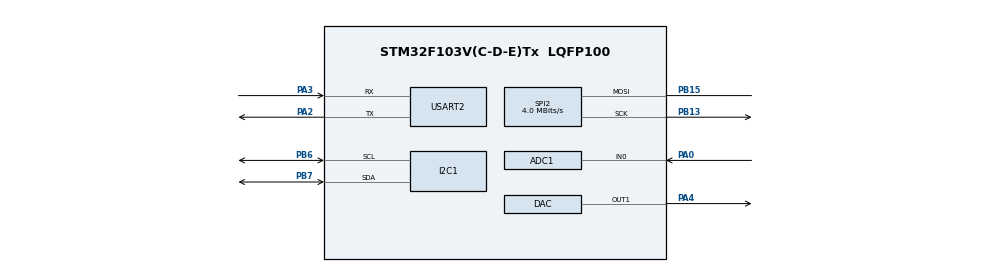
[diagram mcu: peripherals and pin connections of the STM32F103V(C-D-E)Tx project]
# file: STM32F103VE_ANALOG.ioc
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ADC1.Channel-0\#ChannelRegularConversion=ADC_CHANNEL_0
ADC1.NbrOfConversionFlag=1
ADC1.Rank-0\#ChannelRegularConversion=1
ADC1.SamplingTime-0\#ChannelRegularConversion=ADC_SAMPLETIME_1CYCLE_5
ADC1.master=1
Mcu.Family=STM32F1
Mcu.Name=STM32F103V(C-D-E)Tx
Mcu.Package=LQFP100
NVIC.I2C1_ER_IRQn=true\:0\:0\:false\:false\:true\:true\:true
NVIC.I2C1_EV_IRQn=true\:0\:0\:false\:false\:true\:true\:true
NVIC.PriorityGroup=NVIC_PRIORITYGROUP_4
NVIC.USART2_IRQn=true\:0\:0\:false\:false\:true\:true\:true
OSC_IN.Mode=HSE-External-Oscillator
OSC_IN.Signal=RCC_OSC_IN
OSC_OUT.Mode=HSE-External-Oscillator
OSC_OUT.Signal=RCC_OSC_OUT
PA0-WKUP.Signal=ADCx_IN0
PA13.Mode=Trace_Asynchronous_SW
PA13.Signal=SYS_JTMS-SWDIO
PA14.Mode=Trace_Asynchronous_SW
PA14.Signal=SYS_JTCK-SWCLK
PA2.Mode=Asynchronous
PA2.Signal=USART2_TX
PA3.Mode=Asynchronous
PA3.Signal=USART2_RX
PA4.Signal=COMP_DAC1_group
PB13.Mode=Simplex_Bidirectional_Master
PB13.Signal=SPI2_SCK
PB15.Mode=Simplex_Bidirectional_Master
PB15.Signal=SPI2_MOSI
PB3.Mode=Trace_Asynchronous_SW
PB3.Signal=SYS_JTDO-TRACESWO
PB6.Mode=I2C
PB6.Signal=I2C1_SCL
PB7.Mode=I2C
PB7.Signal=I2C1_SDA
ProjectManager.HeapSize=0x200
ProjectManager.StackSize=0x400
ProjectManager.TargetToolchain=TrueSTUDIO
RCC.APB1Freq_Value=8000000
RCC.APB2Freq_Value=8000000
SH.ADCx_IN0.0=ADC1_IN0,IN0
SH.COMP_DAC1_group.0=DAC_OUT1,DAC_OUT1
SPI2.CalculateBaudRate=4.0 MBits/s
SPI2.Direction=SPI_DIRECTION_1LINE
SPI2.Mode=SPI_MODE_MASTER
SPI2.VirtualType=VM_MASTER
USART2.VirtualMode=VM_ASYNC
board=custom

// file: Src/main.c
/* USER CODE BEGIN Header */
/**
  ******************************************************************************
  * @file           : main.c
  * @brief          : Main program body
  ******************************************************************************
  * @attention
  *
  * <h2><center>&copy; Copyright (c) 2020 STMicroelectronics.
  * All rights reserved.</center></h2>
  *
  * This software component is licensed by ST under BSD 3-Clause license,
  * the "License"; You may not use this file except in compliance with the
  * License. You may obtain a copy of the License at:
  *                        opensource.org/licenses/BSD-3-Clause
  *
  ******************************************************************************
  */
/* USER CODE END Header */

#include "main.h"

//ADC_HandleTypeDef hadc1;

I2C_HandleTypeDef hi2c1;

SPI_HandleTypeDef hspi2;

UART_HandleTypeDef huart2;

void SystemClock_Config(void);
static void MX_GPIO_Init(void);
static void MX_I2C1_Init(void);
static void MX_ADC1_Init(void);
static void MX_DAC_Init(void);
static void MX_SPI2_Init(void);
static void MX_USART2_UART_Init(void);

/* USER CODE BEGIN 0 */

//float LSB=3.3/(4096); //2^12  //double  //float

uint16_t delta=0;
/*
uint8_t ideal_DAC[34]={4096,3972,3848,3724,3600,3475,3351,3227,3103,2979,2855,2731,2607,2482,2358,
		               2234,2110,1986,1862,1738,1614,1489,1365,1241,1117,993,869,745,621,496,372,
					   248,124,0};
*/

uint8_t d=100;
/* USER CODE END 0 */

int main(void)
{

  /* MCU Configuration--------------------------------------------------------*/

  /* Reset of all peripherals, Initializes the Flash interface and the Systick. */
  HAL_Init();

  /* Configure the system clock */
  SystemClock_Config();

  /* Initialize all configured peripherals */
  MX_GPIO_Init();
  MX_I2C1_Init();
  MX_ADC1_Init();
  MX_DAC_Init();
  MX_SPI2_Init();
  MX_USART2_UART_Init();

  /* Infinite loop */
  /* USER CODE BEGIN WHILE */

  uint8_t str0[]="Test_0";
  uint8_t str1[]="Test\r\n";
  char string[10]={0};
  uint8_t addres=0;

    LCD1602 scr;
 	scr.hi2c = &hi2c1;
	scr.DevAddress = (0x27<< 1);   // 0x27  // //LED1

	TEST(&scr,str0,1);
/*
    printf("LSB=%.5f\n",LSB);  //
    moveXY(&scr,0,1);
    lsd_print(&scr,"LSB:");
    writeLCD_2D_float(&scr,LSB);
*/
  ////////////////////////////////////
    	    ad7780_dev ad=
    	    {
    	    .gpio_pdrst  = {GPIOD,3},
    	    .gpio_miso   = {GPIOD,2},
    	    .gpio_filter = {GPIOD,0},
    	    .gpio_gain   = {GPIOD,1},
    	    };
    	 ad7780_init_param td;

   // 	    ad7780_init(&ad,&td);

    //      ad7780_remove(&ad);

 //   	 HAL_DMA_IRQHandler(&hdma_usart2_tx);

  while (1)
  {
    /* USER CODE END WHILE */

    /* USER CODE BEGIN 3 */

//      while ((USART2->SR & USART_SR_TXE) == 0){} 	// проверка статуса
//      USART2->DR = d1;  //d1

//HAL_UART_Receive_DMA(&huart2,d,0);
//uint8_t t = HAL_UART_Transmit_DMA(&huart2,str1,(sizeof(str0))-1);

	 if((USART2->SR&USART_SR_RXNE)==0){}
	d=USART2->DR;

     if((USART2->SR & USART_SR_TXE)==0){}
	USART2->DR=50;

/////////////////////////////////////////////////////////

    printf("Mode:=%u \n",d);

   switch (d)
 {
   case 49:  ADC_ref();                          break;  // 1  TEST Vref
   case 50:  ADC_test_paint_255_INL(255,34,scr); break;  //2 Test INL
   case 51:  ADC1_Read();                        break;  //	 	break 0
 }    //	switch

  }  //while
  /* USER CODE END 3 */
}

void SystemClock_Config(void)
{
  RCC_OscInitTypeDef RCC_OscInitStruct = {0};
  RCC_ClkInitTypeDef RCC_ClkInitStruct = {0};
  RCC_PeriphCLKInitTypeDef PeriphClkInit = {0};

  /** Initializes the CPU, AHB and APB busses clocks
  */
  RCC_OscInitStruct.OscillatorType = RCC_OSCILLATORTYPE_HSI;
  RCC_OscInitStruct.HSIState = RCC_HSI_ON;
  RCC_OscInitStruct.HSICalibrationValue = RCC_HSICALIBRATION_DEFAULT;
  RCC_OscInitStruct.PLL.PLLState = RCC_PLL_NONE;
  if (HAL_RCC_OscConfig(&RCC_OscInitStruct) != HAL_OK)
  {
    Error_Handler();
  }
  /** Initializes the CPU, AHB and APB busses clocks
  */
  RCC_ClkInitStruct.ClockType = RCC_CLOCKTYPE_HCLK|RCC_CLOCKTYPE_SYSCLK
                              |RCC_CLOCKTYPE_PCLK1|RCC_CLOCKTYPE_PCLK2;
  RCC_ClkInitStruct.SYSCLKSource = RCC_SYSCLKSOURCE_HSI;
  RCC_ClkInitStruct.AHBCLKDivider = RCC_SYSCLK_DIV1;
  RCC_ClkInitStruct.APB1CLKDivider = RCC_HCLK_DIV1;
  RCC_ClkInitStruct.APB2CLKDivider = RCC_HCLK_DIV1;

  if (HAL_RCC_ClockConfig(&RCC_ClkInitStruct, FLASH_LATENCY_0) != HAL_OK)
  {
    Error_Handler();
  }
  PeriphClkInit.PeriphClockSelection = RCC_PERIPHCLK_ADC;
  PeriphClkInit.AdcClockSelection = RCC_ADCPCLK2_DIV2;
  if (HAL_RCCEx_PeriphCLKConfig(&PeriphClkInit) != HAL_OK)
  {
    Error_Handler();
  }
}

static void MX_ADC1_Init(void)
{

  ADC_ChannelConfTypeDef sConfig = {0};

  /** Common config
  */
  hadc1.Instance = ADC1;
  hadc1.Init.ScanConvMode = ADC_SCAN_DISABLE;
  hadc1.Init.ContinuousConvMode = DISABLE;
  hadc1.Init.DiscontinuousConvMode = DISABLE;
  hadc1.Init.ExternalTrigConv = ADC_SOFTWARE_START;
  hadc1.Init.DataAlign = ADC_DATAALIGN_RIGHT;
  hadc1.Init.NbrOfConversion = 1;
  if (HAL_ADC_Init(&hadc1) != HAL_OK)
  {
    Error_Handler();
  }
  /** Configure Regular Channel
  */
  sConfig.Channel = ADC_CHANNEL_0;
  sConfig.Rank = ADC_REGULAR_RANK_1;
  sConfig.SamplingTime = ADC_SAMPLETIME_1CYCLE_5;
  if (HAL_ADC_ConfigChannel(&hadc1, &sConfig) != HAL_OK)
  {
    Error_Handler();
  }

}

static void MX_DAC_Init(void)
{

  DAC_ChannelConfTypeDef sConfig = {0};

  /** DAC Initialization
  */
  hdac.Instance = DAC;
  if (HAL_DAC_Init(&hdac) != HAL_OK)
  {
    Error_Handler();
  }
  /** DAC channel OUT1 config
  */
  sConfig.DAC_Trigger = DAC_TRIGGER_NONE;
  sConfig.DAC_OutputBuffer = DAC_OUTPUTBUFFER_ENABLE;
  if (HAL_DAC_ConfigChannel(&hdac, &sConfig, DAC_CHANNEL_1) != HAL_OK)
  {
    Error_Handler();
  }

}

static void MX_I2C1_Init(void)
{

  hi2c1.Instance = I2C1;
  hi2c1.Init.ClockSpeed = 100000;
  hi2c1.Init.DutyCycle = I2C_DUTYCYCLE_2;
  hi2c1.Init.OwnAddress1 = 0;
  hi2c1.Init.AddressingMode = I2C_ADDRESSINGMODE_7BIT;
  hi2c1.Init.DualAddressMode = I2C_DUALADDRESS_DISABLE;
  hi2c1.Init.OwnAddress2 = 0;
  hi2c1.Init.GeneralCallMode = I2C_GENERALCALL_DISABLE;
  hi2c1.Init.NoStretchMode = I2C_NOSTRETCH_DISABLE;
  if (HAL_I2C_Init(&hi2c1) != HAL_OK)
  {
    Error_Handler();
  }

}

static void MX_SPI2_Init(void)
{

  /* SPI2 parameter configuration*/
  hspi2.Instance = SPI2;
  hspi2.Init.Mode = SPI_MODE_MASTER;
  hspi2.Init.Direction = SPI_DIRECTION_1LINE;
  hspi2.Init.DataSize = SPI_DATASIZE_8BIT;
  hspi2.Init.CLKPolarity = SPI_POLARITY_LOW;
  hspi2.Init.CLKPhase = SPI_PHASE_1EDGE;
  hspi2.Init.NSS = SPI_NSS_SOFT;
  hspi2.Init.BaudRatePrescaler = SPI_BAUDRATEPRESCALER_2;
  hspi2.Init.FirstBit = SPI_FIRSTBIT_MSB;
  hspi2.Init.TIMode = SPI_TIMODE_DISABLE;
  hspi2.Init.CRCCalculation = SPI_CRCCALCULATION_DISABLE;
  hspi2.Init.CRCPolynomial = 10;
  if (HAL_SPI_Init(&hspi2) != HAL_OK)
  {
    Error_Handler();
  }

}

static void MX_USART2_UART_Init(void)
{

  huart2.Instance = USART2;
  huart2.Init.BaudRate = 115200;
  huart2.Init.WordLength = UART_WORDLENGTH_8B;
  huart2.Init.StopBits = UART_STOPBITS_1;
  huart2.Init.Parity = UART_PARITY_NONE;
  huart2.Init.Mode = UART_MODE_TX_RX;
  huart2.Init.HwFlowCtl = UART_HWCONTROL_NONE;
  huart2.Init.OverSampling = UART_OVERSAMPLING_16;
  if (HAL_UART_Init(&huart2) != HAL_OK)
  {
    Error_Handler();
  }

}

static void MX_GPIO_Init(void)
{

  /* GPIO Ports Clock Enable */
  __HAL_RCC_GPIOA_CLK_ENABLE();
  __HAL_RCC_GPIOB_CLK_ENABLE();

}

void Error_Handler(void)
{
}

/************************ (C) COPYRIGHT STMicroelectronics *****END OF FILE****/
